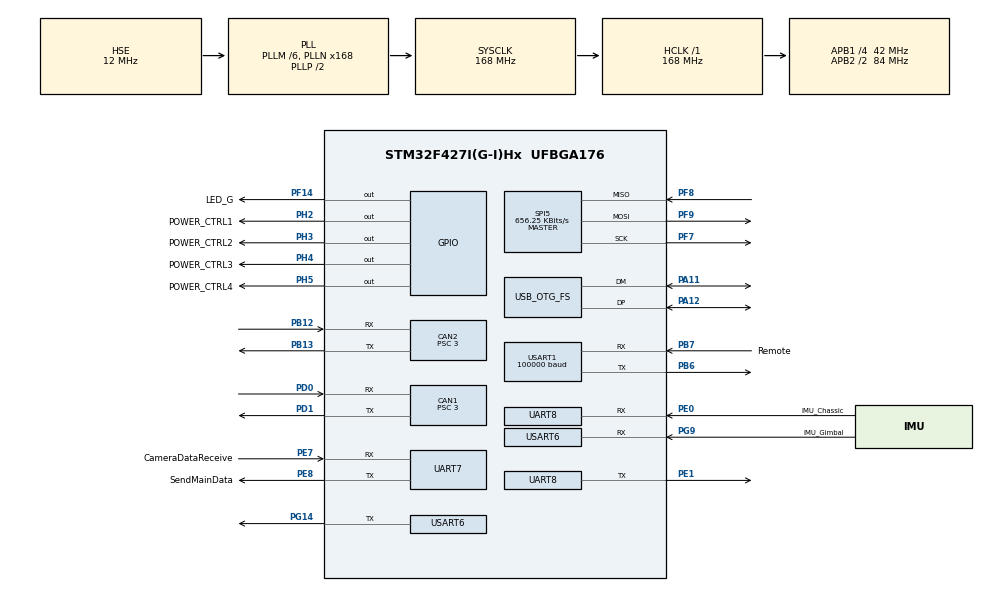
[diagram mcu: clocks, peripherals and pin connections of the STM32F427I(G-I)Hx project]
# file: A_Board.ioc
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CAN1.BS1=CAN_BS1_9TQ
CAN1.BS2=CAN_BS2_4TQ
CAN1.CalculateBaudRate=1000000
CAN1.CalculateTimeBit=1000
CAN1.CalculateTimeQuantum=71.42857142857143
CAN1.Prescaler=3
CAN1.TXFP=DISABLE
CAN2.BS1=CAN_BS1_9TQ
CAN2.BS2=CAN_BS2_4TQ
CAN2.CalculateBaudRate=1000000
CAN2.CalculateTimeBit=1000
CAN2.CalculateTimeQuantum=71.42857142857143
CAN2.Prescaler=3
CAN2.TXFP=DISABLE
Dma.Request0=USART1_RX
Dma.Request1=USART6_RX
Dma.Request2=UART7_RX
Dma.Request3=UART8_RX
Dma.Request4=UART7_TX
Dma.Request5=SPI5_RX
Dma.Request6=SPI5_TX
Dma.SPI5_RX.5.Direction=DMA_PERIPH_TO_MEMORY
Dma.SPI5_RX.5.FIFOMode=DMA_FIFOMODE_DISABLE
Dma.SPI5_RX.5.Instance=DMA2_Stream3
Dma.SPI5_RX.5.MemDataAlignment=DMA_MDATAALIGN_BYTE
Dma.SPI5_RX.5.MemInc=DMA_MINC_ENABLE
Dma.SPI5_RX.5.Mode=DMA_NORMAL
Dma.SPI5_RX.5.PeriphDataAlignment=DMA_PDATAALIGN_BYTE
Dma.SPI5_RX.5.PeriphInc=DMA_PINC_DISABLE
Dma.SPI5_RX.5.Priority=DMA_PRIORITY_LOW
Dma.SPI5_TX.6.Direction=DMA_MEMORY_TO_PERIPH
Dma.SPI5_TX.6.FIFOMode=DMA_FIFOMODE_DISABLE
Dma.SPI5_TX.6.Instance=DMA2_Stream4
Dma.SPI5_TX.6.MemDataAlignment=DMA_MDATAALIGN_BYTE
Dma.SPI5_TX.6.MemInc=DMA_MINC_ENABLE
Dma.SPI5_TX.6.Mode=DMA_NORMAL
Dma.SPI5_TX.6.PeriphDataAlignment=DMA_PDATAALIGN_BYTE
Dma.SPI5_TX.6.PeriphInc=DMA_PINC_DISABLE
Dma.SPI5_TX.6.Priority=DMA_PRIORITY_LOW
Dma.UART7_RX.2.Direction=DMA_PERIPH_TO_MEMORY
Dma.UART7_RX.2.FIFOMode=DMA_FIFOMODE_DISABLE
Dma.UART7_RX.2.Instance=DMA1_Stream3
Dma.UART7_RX.2.MemDataAlignment=DMA_MDATAALIGN_BYTE
Dma.UART7_RX.2.MemInc=DMA_MINC_ENABLE
Dma.UART7_RX.2.Mode=DMA_NORMAL
Dma.UART7_RX.2.PeriphDataAlignment=DMA_PDATAALIGN_BYTE
Dma.UART7_RX.2.PeriphInc=DMA_PINC_DISABLE
Dma.UART7_RX.2.Priority=DMA_PRIORITY_MEDIUM
Dma.UART7_TX.4.Direction=DMA_MEMORY_TO_PERIPH
Dma.UART7_TX.4.FIFOMode=DMA_FIFOMODE_DISABLE
Dma.UART7_TX.4.Instance=DMA1_Stream1
Dma.UART7_TX.4.MemDataAlignment=DMA_MDATAALIGN_BYTE
Dma.UART7_TX.4.MemInc=DMA_MINC_ENABLE
Dma.UART7_TX.4.Mode=DMA_NORMAL
Dma.UART7_TX.4.PeriphDataAlignment=DMA_PDATAALIGN_BYTE
Dma.UART7_TX.4.PeriphInc=DMA_PINC_DISABLE
Dma.UART7_TX.4.Priority=DMA_PRIORITY_MEDIUM
Dma.UART8_RX.3.Direction=DMA_PERIPH_TO_MEMORY
Dma.UART8_RX.3.FIFOMode=DMA_FIFOMODE_DISABLE
Dma.UART8_RX.3.Instance=DMA1_Stream6
Dma.UART8_RX.3.MemDataAlignment=DMA_MDATAALIGN_BYTE
Dma.UART8_RX.3.MemInc=DMA_MINC_ENABLE
Dma.UART8_RX.3.Mode=DMA_NORMAL
Dma.UART8_RX.3.PeriphDataAlignment=DMA_PDATAALIGN_BYTE
Dma.UART8_RX.3.PeriphInc=DMA_PINC_DISABLE
Dma.UART8_RX.3.Priority=DMA_PRIORITY_MEDIUM
Dma.USART1_RX.0.Direction=DMA_PERIPH_TO_MEMORY
Dma.USART1_RX.0.FIFOMode=DMA_FIFOMODE_DISABLE
Dma.USART1_RX.0.Instance=DMA2_Stream2
Dma.USART1_RX.0.MemDataAlignment=DMA_MDATAALIGN_BYTE
Dma.USART1_RX.0.MemInc=DMA_MINC_ENABLE
Dma.USART1_RX.0.Mode=DMA_NORMAL
Dma.USART1_RX.0.PeriphDataAlignment=DMA_PDATAALIGN_BYTE
Dma.USART1_RX.0.PeriphInc=DMA_PINC_DISABLE
Dma.USART1_RX.0.Priority=DMA_PRIORITY_HIGH
Dma.USART6_RX.1.Direction=DMA_PERIPH_TO_MEMORY
Dma.USART6_RX.1.FIFOMode=DMA_FIFOMODE_DISABLE
Dma.USART6_RX.1.Instance=DMA2_Stream1
Dma.USART6_RX.1.MemDataAlignment=DMA_MDATAALIGN_BYTE
Dma.USART6_RX.1.MemInc=DMA_MINC_ENABLE
Dma.USART6_RX.1.Mode=DMA_NORMAL
Dma.USART6_RX.1.PeriphDataAlignment=DMA_PDATAALIGN_BYTE
Dma.USART6_RX.1.PeriphInc=DMA_PINC_DISABLE
Dma.USART6_RX.1.Priority=DMA_PRIORITY_MEDIUM
FREERTOS.INCLUDE_vTaskDelayUntil=1
FREERTOS.Tasks01=defaultTask,0,128,StartDefaultTask,Default,NULL,Dynamic,NULL,NULL;remoteTask,1,128,StartRemoteTask,Default,NULL,Dynamic,NULL,NULL;imuTask,1,128,StartIMUTask,Default,NULL,Dynamic,NULL,NULL;refereeTask,-3,256,StartRefereeTask,Default,NULL,Dynamic,NULL,NULL;visionRecTask,1,256,StartVisionRecTask,Default,NULL,Dynamic,NULL,NULL;visionSendTask,1,256,StartVisionSendTask,Default,NULL,Dynamic,NULL,NULL;chassisTask,3,640,StartChassis,Default,NULL,Dynamic,NULL,NULL;motorTask,3,1280,StartMotor,Default,NULL,Dynamic,NULL,NULL;BoardInteractTa,2,256,StartBoardInteract,Default,NULL,Dynamic,NULL,NULL
FREERTOS.configENABLE_FPU=1
FREERTOS.configMAX_PRIORITIES=9
Mcu.Family=STM32F4
Mcu.Name=STM32F427I(G-I)Hx
Mcu.Package=UFBGA176
NVIC.CAN1_RX0_IRQn=true\:5\:0\:true\:false\:true\:true\:true\:true\:true
NVIC.CAN1_RX1_IRQn=true\:5\:0\:false\:false\:true\:true\:true\:true\:true
NVIC.CAN2_RX0_IRQn=true\:5\:0\:true\:false\:true\:true\:true\:true\:true
NVIC.CAN2_RX1_IRQn=true\:5\:0\:false\:false\:true\:true\:true\:true\:true
NVIC.DMA1_Stream1_IRQn=true\:5\:0\:false\:false\:true\:true\:false\:true\:true
NVIC.DMA1_Stream3_IRQn=true\:5\:0\:false\:false\:true\:true\:false\:true\:true
NVIC.DMA1_Stream6_IRQn=true\:5\:0\:false\:false\:true\:true\:false\:true\:true
NVIC.DMA2_Stream1_IRQn=true\:5\:0\:false\:false\:true\:true\:false\:true\:true
NVIC.DMA2_Stream2_IRQn=true\:5\:0\:false\:false\:true\:true\:false\:true\:true
NVIC.DMA2_Stream3_IRQn=true\:5\:0\:false\:false\:true\:true\:false\:true\:true
NVIC.DMA2_Stream4_IRQn=true\:5\:0\:false\:false\:true\:true\:false\:true\:true
NVIC.OTG_FS_IRQn=true\:5\:0\:false\:false\:true\:true\:false\:true\:true
NVIC.PriorityGroup=NVIC_PRIORITYGROUP_4
NVIC.TIM7_IRQn=true\:15\:0\:false\:false\:true\:false\:false\:true\:true
NVIC.TimeBase=TIM7_IRQn
NVIC.TimeBaseIP=TIM7
NVIC.UART7_IRQn=true\:5\:0\:true\:false\:true\:true\:true\:true\:true
NVIC.UART8_IRQn=true\:5\:0\:true\:false\:true\:true\:true\:true\:true
NVIC.USART1_IRQn=true\:5\:0\:false\:false\:true\:true\:true\:true\:true
NVIC.USART6_IRQn=true\:5\:0\:true\:false\:true\:true\:true\:true\:true
PA11.Mode=Device_Only
PA11.Signal=USB_OTG_FS_DM
PA12.Mode=Device_Only
PA12.Signal=USB_OTG_FS_DP
PA13.Mode=Serial_Wire
PA13.Signal=SYS_JTMS-SWDIO
PA14.Mode=Serial_Wire
PA14.Signal=SYS_JTCK-SWCLK
PB12.Mode=CAN_Activate
PB12.Signal=CAN2_RX
PB13.Mode=CAN_Activate
PB13.Signal=CAN2_TX
PB6.Mode=Asynchronous
PB6.Signal=USART1_TX
PB7.GPIO_Label=Remote
PB7.GPIO_PuPd=GPIO_NOPULL
PB7.GPIO_Speed=GPIO_SPEED_FREQ_MEDIUM
PB7.Mode=Asynchronous
PB7.Signal=USART1_RX
PD0.Mode=CAN_Activate
PD0.Signal=CAN1_RX
PD1.Mode=CAN_Activate
PD1.Signal=CAN1_TX
PE0.GPIO_Label=IMU_Chassic
PE0.Mode=Asynchronous
PE0.Signal=UART8_RX
PE1.Mode=Asynchronous
PE1.Signal=UART8_TX
PE7.GPIO_Label=CameraDataReceive
PE7.Mode=Asynchronous
PE7.Signal=UART7_RX
PE8.GPIO_Label=SendMainData
PE8.Mode=Asynchronous
PE8.Signal=UART7_TX
PF14.GPIO_Label=LED_G
PF14.GPIO_PuPd=GPIO_PULLUP
PF14.Signal=GPIO_Output
PF7.Mode=Full_Duplex_Master
PF7.Signal=SPI5_SCK
PF8.Mode=Full_Duplex_Master
PF8.Signal=SPI5_MISO
PF9.Mode=Full_Duplex_Master
PF9.Signal=SPI5_MOSI
PG14.Mode=Asynchronous
PG14.Signal=USART6_TX
PG9.GPIO_Label=IMU_Gimbal
PG9.GPIO_PuPd=GPIO_PULLUP
PG9.Mode=Asynchronous
PG9.Signal=USART6_RX
PH0/OSC_IN.Mode=HSE-External-Oscillator
PH0/OSC_IN.Signal=RCC_OSC_IN
PH1/OSC_OUT.Mode=HSE-External-Oscillator
PH1/OSC_OUT.Signal=RCC_OSC_OUT
PH2.GPIO_Label=POWER_CTRL1
PH2.GPIO_PuPd=GPIO_PULLUP
PH2.PinState=GPIO_PIN_SET
PH2.Signal=GPIO_Output
PH3.GPIO_Label=POWER_CTRL2
PH3.GPIO_PuPd=GPIO_PULLUP
PH3.PinState=GPIO_PIN_SET
PH3.Signal=GPIO_Output
PH4.GPIO_Label=POWER_CTRL3
PH4.GPIO_PuPd=GPIO_PULLUP
PH4.PinState=GPIO_PIN_SET
PH4.Signal=GPIO_Output
PH5.GPIO_Label=POWER_CTRL4
PH5.GPIO_PuPd=GPIO_PULLUP
PH5.PinState=GPIO_PIN_SET
PH5.Signal=GPIO_Output
ProjectManager.HeapSize=0x4000
ProjectManager.StackSize=0x4000
ProjectManager.TargetToolchain=Makefile
RCC.48MHZClocksFreq_Value=48000000
RCC.AHBFreq_Value=168000000
RCC.APB1CLKDivider=RCC_HCLK_DIV4
RCC.APB1Freq_Value=42000000
RCC.APB1TimFreq_Value=84000000
RCC.APB2CLKDivider=RCC_HCLK_DIV2
RCC.APB2Freq_Value=84000000
RCC.APB2TimFreq_Value=168000000
RCC.CortexFreq_Value=168000000
RCC.HCLKFreq_Value=168000000
RCC.HSE_VALUE=12000000
RCC.HSI_VALUE=16000000
RCC.LSE_VALUE=32768
RCC.PLLM=6
RCC.PLLN=168
RCC.PLLQ=7
RCC.SYSCLKFreq_VALUE=168000000
RCC.SYSCLKSource=RCC_SYSCLKSOURCE_PLLCLK
RCC.VCOOutputFreq_Value=336000000
SPI5.BaudRatePrescaler=SPI_BAUDRATEPRESCALER_128
SPI5.CLKPhase=SPI_PHASE_2EDGE
SPI5.CLKPolarity=SPI_POLARITY_HIGH
SPI5.CalculateBaudRate=656.25 KBits/s
SPI5.Direction=SPI_DIRECTION_2LINES
SPI5.Mode=SPI_MODE_MASTER
SPI5.VirtualType=VM_MASTER
STMicroelectronics.X-CUBE-ALGOBUILD.1.3.0.LibraryCcDSPOoLibraryJjDSPOoLibrary=true
UART7.VirtualMode=Asynchronous
UART7.WordLength=WORDLENGTH_8B
UART8.Mode=MODE_RX
UART8.VirtualMode=Asynchronous
UART8.WordLength=WORDLENGTH_8B
USART1.BaudRate=100000
USART1.Mode=MODE_TX_RX
USART1.Parity=PARITY_EVEN
USART1.VirtualMode=VM_ASYNC
USART1.WordLength=WORDLENGTH_9B
USART6.Mode=MODE_RX
USART6.VirtualMode=VM_ASYNC
USART6.WordLength=WORDLENGTH_8B
USB_DEVICE.CLASS_NAME_FS=CDC
USB_DEVICE.VirtualMode-CDC_FS=Cdc
USB_DEVICE.VirtualModeFS=Cdc_FS
USB_OTG_FS.VirtualMode=Device_Only
VP_FREERTOS_VS_CMSIS_V1.Mode=CMSIS_V1
VP_STMicroelectronics.X-CUBE-ALGOBUILD_VS_DSPOoLibraryJjLibrary_1.3.0_1.3.0.Mode=DSPOoLibraryJjLibrary
VP_SYS_VS_tim7.Mode=TIM7
VP_USB_DEVICE_VS_USB_DEVICE_CDC_FS.Mode=CDC_FS
board=custom

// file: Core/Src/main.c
/* USER CODE BEGIN Header */
/**
 ******************************************************************************
 * @file           : main.c
 * @brief          : Main program body
 ******************************************************************************
 * @attention
 *
 * Copyright (c) 2023 STMicroelectronics.
 * All rights reserved.
 *
 * This software is licensed under terms that can be found in the LICENSE file
 * in the root directory of this software component.
 * If no LICENSE file comes with this software, it is provided AS-IS.
 *
 ******************************************************************************
 */
/* USER CODE END Header */
#include "main.h"
#include "cmsis_os.h"
#include "can.h"
#include "dma.h"
#include "spi.h"
#include "usart.h"
#include "usb_device.h"
#include "gpio.h"

/* USER CODE BEGIN Includes */
#include "Communication.h"
/* USER CODE END Includes */

void SystemClock_Config(void);
void MX_FREERTOS_Init(void);

int main(void)
{

  /* MCU Configuration--------------------------------------------------------*/

  /* Reset of all peripherals, Initializes the Flash interface and the Systick. */
  HAL_Init();

  /* Configure the system clock */
  SystemClock_Config();

  /* Initialize all configured peripherals */
  MX_GPIO_Init();
  MX_DMA_Init();
  MX_CAN1_Init();
  MX_CAN2_Init();
  MX_USART1_UART_Init();
  MX_USART6_UART_Init();
  MX_UART7_Init();
  MX_UART8_Init();
  MX_SPI5_Init();
  /* USER CODE BEGIN 2 */
    UserSystemCommInit();

  /* USER CODE END 2 */

  /* Call init function for freertos objects (in freertos.c) */
  MX_FREERTOS_Init();

  /* Start scheduler */
  osKernelStart();

  /* We should never get here as control is now taken by the scheduler */
  /* Infinite loop */
    while (1) {

    }
}

void SystemClock_Config(void)
{
  RCC_OscInitTypeDef RCC_OscInitStruct = {0};
  RCC_ClkInitTypeDef RCC_ClkInitStruct = {0};

  /** Configure the main internal regulator output voltage
  */
  __HAL_RCC_PWR_CLK_ENABLE();
  __HAL_PWR_VOLTAGESCALING_CONFIG(PWR_REGULATOR_VOLTAGE_SCALE1);

  /** Initializes the RCC Oscillators according to the specified parameters
  * in the RCC_OscInitTypeDef structure.
  */
  RCC_OscInitStruct.OscillatorType = RCC_OSCILLATORTYPE_HSE;
  RCC_OscInitStruct.HSEState = RCC_HSE_ON;
  RCC_OscInitStruct.PLL.PLLState = RCC_PLL_ON;
  RCC_OscInitStruct.PLL.PLLSource = RCC_PLLSOURCE_HSE;
  RCC_OscInitStruct.PLL.PLLM = 6;
  RCC_OscInitStruct.PLL.PLLN = 168;
  RCC_OscInitStruct.PLL.PLLP = RCC_PLLP_DIV2;
  RCC_OscInitStruct.PLL.PLLQ = 7;
  if (HAL_RCC_OscConfig(&RCC_OscInitStruct) != HAL_OK)
  {
    Error_Handler();
  }

  /** Initializes the CPU, AHB and APB buses clocks
  */
  RCC_ClkInitStruct.ClockType = RCC_CLOCKTYPE_HCLK|RCC_CLOCKTYPE_SYSCLK
                              |RCC_CLOCKTYPE_PCLK1|RCC_CLOCKTYPE_PCLK2;
  RCC_ClkInitStruct.SYSCLKSource = RCC_SYSCLKSOURCE_PLLCLK;
  RCC_ClkInitStruct.AHBCLKDivider = RCC_SYSCLK_DIV1;
  RCC_ClkInitStruct.APB1CLKDivider = RCC_HCLK_DIV4;
  RCC_ClkInitStruct.APB2CLKDivider = RCC_HCLK_DIV2;

  if (HAL_RCC_ClockConfig(&RCC_ClkInitStruct, FLASH_LATENCY_5) != HAL_OK)
  {
    Error_Handler();
  }
}

void HAL_TIM_PeriodElapsedCallback(TIM_HandleTypeDef *htim)
{
  if (htim->Instance == TIM7) {
    HAL_IncTick();
  }
}

void Error_Handler(void)
{
    __disable_irq();
    while (1) {
    }
}

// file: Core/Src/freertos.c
/* USER CODE BEGIN Header */
/**
 ******************************************************************************
 * File Name          : freertos.c
 * Description        : Code for freertos applications
 ******************************************************************************
 * @attention
 *
 * Copyright (c) 2023 STMicroelectronics.
 * All rights reserved.
 *
 * This software is licensed under terms that can be found in the LICENSE file
 * in the root directory of this software component.
 * If no LICENSE file comes with this software, it is provided AS-IS.
 *
 ******************************************************************************
 */
/* USER CODE END Header */

#include "FreeRTOS.h"
#include "task.h"
#include "main.h"
#include "cmsis_os.h"

/* USER CODE BEGIN Includes */
#include "Communication.h"
#include "Chassis_Calcu.h"
#include "MotorControl.h"
/* USER CODE END Includes */

osThreadId defaultTaskHandle;
osThreadId remoteTaskHandle;
osThreadId imuTaskHandle;
osThreadId refereeTaskHandle;
osThreadId visionRecTaskHandle;
osThreadId visionSendTaskHandle;
osThreadId chassisTaskHandle;
osThreadId motorTaskHandle;
osThreadId BoardInteractTaHandle;

void StartDefaultTask(void const * argument);
void StartRemoteTask(void const * argument);
void StartIMUTask(void const * argument);
void StartRefereeTask(void const * argument);
void StartVisionRecTask(void const * argument);
void StartVisionSendTask(void const * argument);
void StartChassis(void const * argument);
void StartMotor(void const * argument);
void StartBoardInteract(void const * argument);

extern void MX_USB_DEVICE_Init(void);
void MX_FREERTOS_Init(void); /* (MISRA C 2004 rule 8.1) */

/* GetIdleTaskMemory prototype (linked to static allocation support) */
void vApplicationGetIdleTaskMemory( StaticTask_t **ppxIdleTaskTCBBuffer, StackType_t **ppxIdleTaskStackBuffer, uint32_t *pulIdleTaskStackSize );

/* USER CODE BEGIN GET_IDLE_TASK_MEMORY */
static StaticTask_t xIdleTaskTCBBuffer;
static StackType_t xIdleStack[configMINIMAL_STACK_SIZE];

void vApplicationGetIdleTaskMemory(StaticTask_t **ppxIdleTaskTCBBuffer, StackType_t **ppxIdleTaskStackBuffer, uint32_t *pulIdleTaskStackSize)
{
    *ppxIdleTaskTCBBuffer = &xIdleTaskTCBBuffer;
    *ppxIdleTaskStackBuffer = &xIdleStack[0];
    *pulIdleTaskStackSize = configMINIMAL_STACK_SIZE;
    /* place for user code */
}
/* USER CODE END GET_IDLE_TASK_MEMORY */

void MX_FREERTOS_Init(void) {

  /* Create the thread(s) */
  /* definition and creation of defaultTask */
  osThreadDef(defaultTask, StartDefaultTask, osPriorityNormal, 0, 128);
  defaultTaskHandle = osThreadCreate(osThread(defaultTask), NULL);

  /* definition and creation of remoteTask */
  osThreadDef(remoteTask, StartRemoteTask, osPriorityAboveNormal, 0, 128);
  remoteTaskHandle = osThreadCreate(osThread(remoteTask), NULL);

  /* definition and creation of imuTask */
  osThreadDef(imuTask, StartIMUTask, osPriorityAboveNormal, 0, 128);
  imuTaskHandle = osThreadCreate(osThread(imuTask), NULL);

  /* definition and creation of refereeTask */
  osThreadDef(refereeTask, StartRefereeTask, osPriorityIdle, 0, 256);
  refereeTaskHandle = osThreadCreate(osThread(refereeTask), NULL);

  /* definition and creation of visionRecTask */
  osThreadDef(visionRecTask, StartVisionRecTask, osPriorityAboveNormal, 0, 256);
  visionRecTaskHandle = osThreadCreate(osThread(visionRecTask), NULL);

  /* definition and creation of visionSendTask */
  osThreadDef(visionSendTask, StartVisionSendTask, osPriorityAboveNormal, 0, 256);
  visionSendTaskHandle = osThreadCreate(osThread(visionSendTask), NULL);

  /* definition and creation of chassisTask */
  osThreadDef(chassisTask, StartChassis, osPriorityRealtime, 0, 640);
  chassisTaskHandle = osThreadCreate(osThread(chassisTask), NULL);

  /* definition and creation of motorTask */
  osThreadDef(motorTask, StartMotor, osPriorityRealtime, 0, 1280);
  motorTaskHandle = osThreadCreate(osThread(motorTask), NULL);

  /* definition and creation of BoardInteractTa */
  osThreadDef(BoardInteractTa, StartBoardInteract, osPriorityHigh, 0, 256);
  BoardInteractTaHandle = osThreadCreate(osThread(BoardInteractTa), NULL);

}

void StartDefaultTask(void const * argument)
{
  /* init code for USB_DEVICE */
  MX_USB_DEVICE_Init();
  /* USER CODE BEGIN StartDefaultTask */
    /* Infinite loop */
    for (;;) {
        HAL_GPIO_TogglePin(GPIOF, GPIO_PIN_14);
        osDelay(500);
    }
  /* USER CODE END StartDefaultTask */
}

void StartRemoteTask(void const * argument)
{
  /* USER CODE BEGIN StartRemoteTask */
    /* Infinite loop */
    for (;;) {
        RemoteTask();
    }
  /* USER CODE END StartRemoteTask */
}

void StartIMUTask(void const * argument)
{
  /* USER CODE BEGIN StartIMUTask */
    /* Infinite loop */
    for (;;) {
        IMUTask();
    }
  /* USER CODE END StartIMUTask */
}

void StartRefereeTask(void const * argument)
{
  /* USER CODE BEGIN StartRefereeTask */
    /* Infinite loop */
    for (;;) {
        RefereeTask();
    }
  /* USER CODE END StartRefereeTask */
}

void StartVisionRecTask(void const * argument)
{
  /* USER CODE BEGIN StartVisionRecTask */
    /* Infinite loop */
    for (;;) {
        VisionRecTask();
    }
  /* USER CODE END StartVisionRecTask */
}

void StartVisionSendTask(void const * argument)
{
  /* USER CODE BEGIN StartVisionSendTask */
    /* Infinite loop */
    for (;;) {
        VisionSendTask();
        osDelay(10);
    }
  /* USER CODE END StartVisionSendTask */
}

void StartChassis(void const * argument)
{
  /* USER CODE BEGIN StartChassis */
  ChassisInit();
  /* Infinite loop */
  for(;;)
  {
    ChassisUpdate();
    osDelay(50);
  }
  /* USER CODE END StartChassis */
}

void StartMotor(void const * argument)
{
  /* USER CODE BEGIN StartMotor */
  /* Infinite loop */
  for(;;)
  {
    MotorSendData();
    osDelay(1);
  }
  /* USER CODE END StartMotor */
}

void StartBoardInteract(void const * argument)
{
  /* USER CODE BEGIN StartBoardInteract */
  BoardInteractInit();
  /* Infinite loop */
  for(;;)
  {
    osDelay(1);
  }
  /* USER CODE END StartBoardInteract */
}
